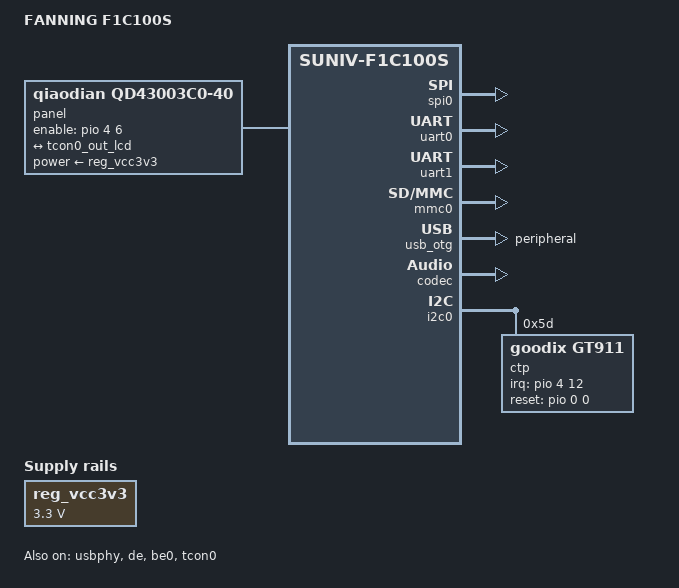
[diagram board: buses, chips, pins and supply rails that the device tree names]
// SPDX-License-Identifier: (GPL-2.0+ OR X11)

/dts-v1/;
#include "suniv-f1c100s.dtsi"

/ {
	model = "FANNING F1C100S";
	compatible = "allwinner,suniv-f1c200s",
			 "allwinner,suniv-f1c100s";

	aliases {
		serial0 = &uart0;
	};

	chosen {
		stdout-path = "serial0:115200n8";
	};

	panel: panel {
		compatible = "qiaodian,qd43003c0-40", "simple-panel";
		#address-cells = <1>;
		#size-cells = <0>;
		enable-gpios = <&pio 4 6 GPIO_ACTIVE_HIGH>;
		power-supply = <&reg_vcc3v3>;

		port@0 {
			reg = <0>;
			#address-cells = <1>;
			#size-cells = <0>;

			panel_input: endpoint@0 {
				reg = <0>;
				remote-endpoint = <&tcon0_out_lcd>;
			};
		};
	};

	reg_vcc3v3: vcc3v3 {
		compatible = "regulator-fixed";
		regulator-name = "vcc3v3";
		regulator-min-microvolt = <3300000>;
		regulator-max-microvolt = <3300000>;
	};
};

&spi0 {
	status = "okay";
};

&uart0 {
	pinctrl-names = "default";
	pinctrl-0 = <&uart0_pe_pins>;
	status = "okay";
};

&uart1 {
	pinctrl-names = "default";
	pinctrl-0 = <&uart1_pa_pins>;
	status = "okay";
};

&mmc0 {
	status = "okay";
	broken-cd;
};

&otg_sram {
	status = "okay";
};

&usb_otg {
	dr_mode = "peripheral"; /* host peripheral */
	status = "okay";
};

&usbphy {
	status = "okay";
};

&de {
	status = "okay";
};

&be0 {
	status = "okay";
};

&tcon0 {
	pinctrl-names = "default";
	pinctrl-0 = <&lcd_rgb565_pins>;
	status = "okay";
};

&tcon0_out {
	tcon0_out_lcd: endpoint@0 {
		reg = <0>;
		remote-endpoint = <&panel_input>;
	};
};

&codec {
	allwinner,audio-routing =
		"Headphone", "HP",
		"Headphone", "HPCOM",
		"LINEIN", "Line In",
		"FMINL", "Left FM In",
		"FMINR", "Right FM In",
		"MIC", "Mic";
	status = "okay";
};

&i2c0 {
	pinctrl-names = "default";
	pinctrl-0 = <&i2c0_pd_pins>;
	status = "okay";

	rtp@48 {
		compatible = "ti,tsc2007";
		reg = <0x48>;
		interrupt-parent = <&pio>;
		interrupts = <4 12 IRQ_TYPE_EDGE_FALLING>;
		gpios = <&pio 4 12 GPIO_ACTIVE_LOW>;
		pendown-gpio = <&pio 4 12 GPIO_ACTIVE_LOW>;
		ti,x-plate-ohms = <660>;
		wakeup-source;
		status = "disabled";
	};

	ctp@5d {
		compatible = "goodix,gt911";
		reg = <0x5d>;
		interrupt-parent = <&pio>;
		interrupts = <4 12 IRQ_TYPE_EDGE_FALLING>; // PE12
		irq-gpios = <&pio 4 12 GPIO_ACTIVE_HIGH>; // PE12
		reset-gpios = <&pio 0 0 GPIO_ACTIVE_HIGH>; // PA0
	};
};
